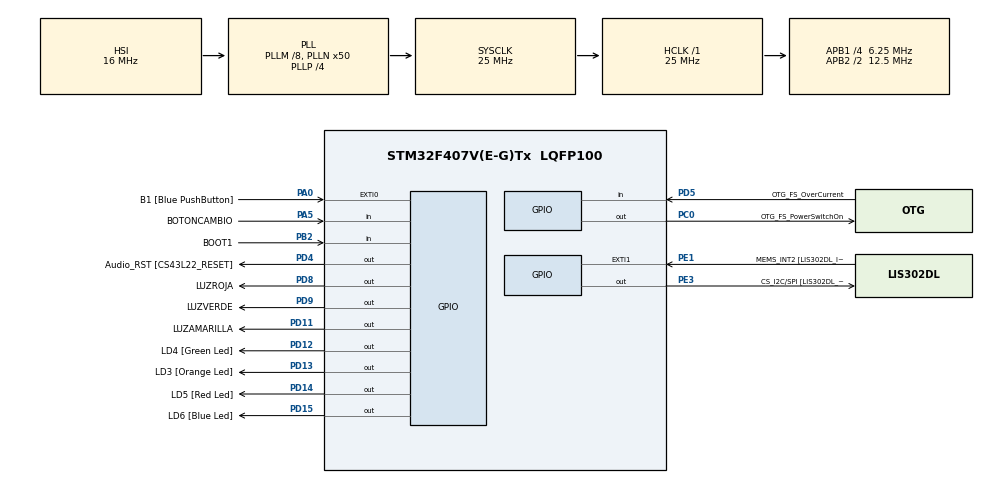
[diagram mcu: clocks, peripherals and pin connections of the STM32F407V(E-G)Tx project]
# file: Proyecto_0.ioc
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Mcu.Family=STM32F4
Mcu.Name=STM32F407V(E-G)Tx
Mcu.Package=LQFP100
NVIC.PriorityGroup=NVIC_PRIORITYGROUP_0
PA0-WKUP.GPIO_Label=B1 [Blue PushButton]
PA0-WKUP.Signal=GPXTI0
PA10.GPIO_Label=OTG_FS_ID
PA10.GPIO_Mode=GPIO_MODE_AF_PP
PA10.GPIO_PuPd=GPIO_NOPULL
PA10.GPIO_Speed=GPIO_SPEED_FREQ_LOW
PA10.Signal=USB_OTG_FS_ID
PA11.GPIO_Label=OTG_FS_DM
PA11.GPIO_Mode=GPIO_MODE_AF_PP
PA11.GPIO_PuPd=GPIO_NOPULL
PA11.GPIO_Speed=GPIO_SPEED_FREQ_LOW
PA11.Signal=USB_OTG_FS_DM
PA12.GPIO_Label=OTG_FS_DP
PA12.GPIO_Mode=GPIO_MODE_AF_PP
PA12.GPIO_PuPd=GPIO_NOPULL
PA12.GPIO_Speed=GPIO_SPEED_FREQ_LOW
PA12.Signal=USB_OTG_FS_DP
PA13.GPIO_Label=SWDIO
PA13.Signal=SYS_JTMS-SWDIO
PA14.GPIO_Label=SWCLK
PA14.Signal=SYS_JTCK-SWCLK
PA4.GPIO_Label=I2S3_WS [CS43L22_LRCK]
PA4.GPIO_Mode=GPIO_MODE_AF_PP
PA4.GPIO_PuPd=GPIO_NOPULL
PA4.GPIO_Speed=GPIO_SPEED_FREQ_LOW
PA4.Signal=I2S3_WS
PA5.GPIO_Label=BOTONCAMBIO
PA5.Signal=GPIO_Input
PA6.GPIO_Label=SPI1_MISO [LIS302DL_SDO]
PA6.GPIO_Mode=GPIO_MODE_AF_PP
PA6.GPIO_PuPd=GPIO_NOPULL
PA6.GPIO_Speed=GPIO_SPEED_FREQ_LOW
PA6.Signal=SPI1_MISO
PA7.GPIO_Label=SPI1_MOSI [LIS302DL_SDA/SDI/SDO]
PA7.GPIO_Mode=GPIO_MODE_AF_PP
PA7.GPIO_PuPd=GPIO_NOPULL
PA7.GPIO_Speed=GPIO_SPEED_FREQ_LOW
PA7.Signal=SPI1_MOSI
PA9.GPIO_Label=VBUS_FS
PA9.GPIO_Mode=GPIO_MODE_INPUT
PA9.GPIO_PuPd=GPIO_NOPULL
PA9.Signal=USB_OTG_FS_VBUS
PB10.GPIO_Label=CLK_IN [MP45DT02_CLK]
PB10.GPIO_Mode=GPIO_MODE_AF_PP
PB10.GPIO_PuPd=GPIO_NOPULL
PB10.GPIO_Speed=GPIO_SPEED_FREQ_LOW
PB10.Signal=I2S2_CK
PB2.GPIO_Label=BOOT1
PB2.GPIO_Mode=GPIO_MODE_INPUT
PB2.GPIO_PuPd=GPIO_NOPULL
PB2.Signal=GPIO_Input
PB3.GPIO_Label=SWO
PB3.Signal=SYS_JTDO-SWO
PB6.GPIO_Label=Audio_SCL [CS43L22_SCL]
PB6.GPIO_Mode=GPIO_MODE_AF_OD
PB6.GPIO_PuPd=GPIO_NOPULL
PB6.GPIO_Speed=GPIO_SPEED_FREQ_LOW
PB6.Signal=I2C1_SCL
PB9.GPIO_Label=Audio_SDA [CS43L22_SDA]
PB9.GPIO_Mode=GPIO_MODE_AF_OD
PB9.GPIO_PuPd=GPIO_NOPULL
PB9.GPIO_Speed=GPIO_SPEED_FREQ_LOW
PB9.Signal=I2C1_SDA
PC0.GPIO_Label=OTG_FS_PowerSwitchOn
PC0.GPIO_PuPd=GPIO_NOPULL
PC0.GPIO_Speed=GPIO_SPEED_FREQ_LOW
PC0.PinState=GPIO_PIN_SET
PC0.Signal=GPIO_Output
PC10.GPIO_Label=I2S3_SCK [CS43L22_SCLK]
PC10.GPIO_Mode=GPIO_MODE_AF_PP
PC10.GPIO_PuPd=GPIO_NOPULL
PC10.GPIO_Speed=GPIO_SPEED_FREQ_LOW
PC10.Signal=I2S3_CK
PC12.GPIO_Label=I2S3_SD [CS43L22_SDIN]
PC12.GPIO_Mode=GPIO_MODE_AF_PP
PC12.GPIO_PuPd=GPIO_NOPULL
PC12.GPIO_Speed=GPIO_SPEED_FREQ_LOW
PC12.Signal=I2S3_SD
PC14-OSC32_IN.GPIO_Label=PC14-OSC32_IN
PC14-OSC32_IN.Signal=RCC_OSC32_IN
PC15-OSC32_OUT.GPIO_Label=PC15-OSC32_OUT
PC15-OSC32_OUT.Signal=RCC_OSC32_OUT
PC3.GPIO_Label=PDM_OUT [MP45DT02_DOUT]
PC3.GPIO_Mode=GPIO_MODE_AF_PP
PC3.GPIO_PuPd=GPIO_NOPULL
PC3.GPIO_Speed=GPIO_SPEED_FREQ_LOW
PC3.Signal=I2S2_SD
PC7.GPIO_Label=I2S3_MCK [CS43L22_MCLK]
PC7.GPIO_Mode=GPIO_MODE_AF_PP
PC7.GPIO_PuPd=GPIO_NOPULL
PC7.GPIO_Speed=GPIO_SPEED_FREQ_LOW
PC7.Signal=I2S3_MCK
PD11.GPIO_Label=LUZAMARILLA
PD11.Signal=GPIO_Output
PD12.GPIO_Label=LD4 [Green Led]
PD12.GPIO_PuPd=GPIO_NOPULL
PD12.GPIO_Speed=GPIO_SPEED_FREQ_LOW
PD12.Signal=GPIO_Output
PD13.GPIO_Label=LD3 [Orange Led]
PD13.GPIO_PuPd=GPIO_NOPULL
PD13.GPIO_Speed=GPIO_SPEED_FREQ_LOW
PD13.Signal=GPIO_Output
PD14.GPIO_Label=LD5 [Red Led]
PD14.GPIO_PuPd=GPIO_NOPULL
PD14.GPIO_Speed=GPIO_SPEED_FREQ_LOW
PD14.Signal=GPIO_Output
PD15.GPIO_Label=LD6 [Blue Led]
PD15.GPIO_PuPd=GPIO_NOPULL
PD15.GPIO_Speed=GPIO_SPEED_FREQ_LOW
PD15.Signal=GPIO_Output
PD4.GPIO_Label=Audio_RST [CS43L22_RESET]
PD4.GPIO_PuPd=GPIO_NOPULL
PD4.GPIO_Speed=GPIO_SPEED_FREQ_LOW
PD4.Signal=GPIO_Output
PD5.GPIO_Label=OTG_FS_OverCurrent
PD5.GPIO_Mode=GPIO_MODE_INPUT
PD5.GPIO_PuPd=GPIO_NOPULL
PD5.Signal=GPIO_Input
PD8.GPIO_Label=LUZROJA
PD8.Signal=GPIO_Output
PD9.GPIO_Label=LUZVERDE
PD9.Signal=GPIO_Output
PE1.GPIO_Label=MEMS_INT2 [LIS302DL_INT2]
PE1.GPIO_ModeDefaultEXTI=GPIO_MODE_EVT_RISING
PE1.GPIO_PuPd=GPIO_NOPULL
PE1.Signal=GPXTI1
PE3.GPIO_Label=CS_I2C/SPI [LIS302DL_CS_I2C/SPI]
PE3.GPIO_PuPd=GPIO_NOPULL
PE3.GPIO_Speed=GPIO_SPEED_FREQ_LOW
PE3.Signal=GPIO_Output
PH0-OSC_IN.GPIO_Label=PH0-OSC_IN
PH0-OSC_IN.Signal=RCC_OSC_IN
PH1-OSC_OUT.GPIO_Label=PH1-OSC_OUT
PH1-OSC_OUT.Signal=RCC_OSC_OUT
ProjectManager.HeapSize=0x200
ProjectManager.StackSize=0x400
ProjectManager.TargetToolchain=STM32CubeIDE
RCC.48MHZClocksFreq_Value=14285714.285714285
RCC.AHBFreq_Value=25000000
RCC.APB1CLKDivider=RCC_HCLK_DIV4
RCC.APB1Freq_Value=6250000
RCC.APB1TimFreq_Value=12500000
RCC.APB2CLKDivider=RCC_HCLK_DIV2
RCC.APB2Freq_Value=12500000
RCC.APB2TimFreq_Value=25000000
RCC.CortexFreq_Value=25000000
RCC.HCLKFreq_Value=25000000
RCC.HSE_VALUE=8000000
RCC.HSI_VALUE=16000000
RCC.LSE_VALUE=32768
RCC.PLLM=8
RCC.PLLN=50
RCC.PLLP=RCC_PLLP_DIV4
RCC.PLLQ=7
RCC.SYSCLKFreq_VALUE=25000000
RCC.SYSCLKSource=RCC_SYSCLKSOURCE_PLLCLK
RCC.VCOOutputFreq_Value=100000000
board=STM32F407G-DISC1

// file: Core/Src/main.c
/* USER CODE BEGIN Header */
/**
  ******************************************************************************
  * @file           : main.c
  * @brief          : Main program body
  ******************************************************************************
  * @attention
  *
  * Copyright (c) 2026 STMicroelectronics.
  * All rights reserved.
  *
  * This software is licensed under terms that can be found in the LICENSE file
  * in the root directory of this software component.
  * If no LICENSE file comes with this software, it is provided AS-IS.
  *
  ******************************************************************************
  */
/* USER CODE END Header */
#include "main.h"

/* USER CODE BEGIN Includes */
#include <stdbool.h> // variable booleanas

/* USER CODE END Includes */

/* USER CODE BEGIN PD */
#define TESPERA 2000 // periodo de espera en ms entre las transiciones
#define TREBOTES 20 // intervalo de rebotes en ms
#define TSONDEO 200 // retardo de sondeo en ms
#define LUZROJA_Pin GPIO_PIN_8
#define LUZROJA_GPIO_Port GPIOD
#define LUZVERDE_Pin GPIO_PIN_9
#define LUZVERDE_GPIO_Port GPIOD
#define LUZAMARILLA_Pin GPIO_PIN_11
#define LUZAMARILLA_GPIO_Port GPIOD
#define LUCES_GPIO_Port GPIOD
#define BOTONCAMBIO_Pin GPIO_PIN_5
#define BOTONCAMBIO_GPIO_Port GPIOA

/* USER CODE END PD */

void SystemClock_Config(void);
static void MX_GPIO_Init(void);
/* USER CODE BEGIN PFP */
void CambiarRojoVerde(void); // Transición de rojo a verde
void CambiarVerdeRojo(void); // Transición de verde a rojo
bool VerificarPedido(void); // Determinar si el botón fue pulsado
/* USER CODE END PFP */

int main(void)
{

  /* MCU Configuration--------------------------------------------------------*/

  /* Reset of all peripherals, Initializes the Flash interface and the Systick. */
  HAL_Init();

  /* Configure the system clock */
  SystemClock_Config();

  /* Initialize all configured peripherals */
  MX_GPIO_Init();
  /* USER CODE BEGIN 2 */
  // Nos aseguramos de apagar las luces amarilla y verde, y de encender la roja
  HAL_GPIO_WritePin(LUCES_GPIO_Port, LUZAMARILLA_Pin, GPIO_PIN_RESET);
  HAL_GPIO_WritePin(LUCES_GPIO_Port, LUZVERDE_Pin, GPIO_PIN_RESET);
  HAL_GPIO_WritePin(LUCES_GPIO_Port, LUZROJA_Pin, GPIO_PIN_SET);

  /* USER CODE END 2 */

  /* Infinite loop */
  while (1)
  {
	  // Esperamos por una solicitud de cambio de estado.
	  while(!VerificarPedido()) // Comprobamos si hay una solicitud haciendo una lectura filtrada del botón
	  HAL_Delay(TSONDEO); // Si no la hay, esperamos por un tiempo y volvemos a comprobar
	  // Al recibir la solicitud, cambiamos de estado de ROJO a VERDE
	  CambiarRojoVerde();
	  // Esperamos por una solicitud de cambio de estado.
	  while(!VerificarPedido()) // Comprobamos si hay una solicitud haciendo una lectura filtrada del botón
	  HAL_Delay(TSONDEO); // Si no la hay, esperamos por un tiempo y volvemos comprobar
	  // Al recibir la solicitud, cambiamos de estado de VERDE a ROJO
	  CambiarVerdeRojo();
	 }

  }

void SystemClock_Config(void)
{
  RCC_OscInitTypeDef RCC_OscInitStruct = {0};
  RCC_ClkInitTypeDef RCC_ClkInitStruct = {0};

  /** Configure the main internal regulator output voltage
  */
  __HAL_RCC_PWR_CLK_ENABLE();
  __HAL_PWR_VOLTAGESCALING_CONFIG(PWR_REGULATOR_VOLTAGE_SCALE1);

  /** Initializes the RCC Oscillators according to the specified parameters
  * in the RCC_OscInitTypeDef structure.
  */
  RCC_OscInitStruct.OscillatorType = RCC_OSCILLATORTYPE_HSI;
  RCC_OscInitStruct.HSIState = RCC_HSI_ON;
  RCC_OscInitStruct.HSICalibrationValue = RCC_HSICALIBRATION_DEFAULT;
  RCC_OscInitStruct.PLL.PLLState = RCC_PLL_ON;
  RCC_OscInitStruct.PLL.PLLSource = RCC_PLLSOURCE_HSI;
  RCC_OscInitStruct.PLL.PLLM = 8;
  RCC_OscInitStruct.PLL.PLLN = 50;
  RCC_OscInitStruct.PLL.PLLP = RCC_PLLP_DIV4;
  RCC_OscInitStruct.PLL.PLLQ = 7;
  if (HAL_RCC_OscConfig(&RCC_OscInitStruct) != HAL_OK)
  {
    Error_Handler();
  }

  /** Initializes the CPU, AHB and APB buses clocks
  */
  RCC_ClkInitStruct.ClockType = RCC_CLOCKTYPE_HCLK|RCC_CLOCKTYPE_SYSCLK
                              |RCC_CLOCKTYPE_PCLK1|RCC_CLOCKTYPE_PCLK2;
  RCC_ClkInitStruct.SYSCLKSource = RCC_SYSCLKSOURCE_PLLCLK;
  RCC_ClkInitStruct.AHBCLKDivider = RCC_SYSCLK_DIV1;
  RCC_ClkInitStruct.APB1CLKDivider = RCC_HCLK_DIV4;
  RCC_ClkInitStruct.APB2CLKDivider = RCC_HCLK_DIV2;

  if (HAL_RCC_ClockConfig(&RCC_ClkInitStruct, FLASH_LATENCY_0) != HAL_OK)
  {
    Error_Handler();
  }
}

static void MX_GPIO_Init(void)
{
  GPIO_InitTypeDef GPIO_InitStruct = {0};

  /* GPIO Ports Clock Enable */
  __HAL_RCC_GPIOE_CLK_ENABLE();
  __HAL_RCC_GPIOC_CLK_ENABLE();
  __HAL_RCC_GPIOH_CLK_ENABLE();
  __HAL_RCC_GPIOA_CLK_ENABLE();
  __HAL_RCC_GPIOB_CLK_ENABLE();
  __HAL_RCC_GPIOD_CLK_ENABLE();

  /*Configure GPIO pin Output Level */
  HAL_GPIO_WritePin(CS_I2C_SPI_GPIO_Port, CS_I2C_SPI_Pin, GPIO_PIN_RESET);

  /*Configure GPIO pin Output Level */
  HAL_GPIO_WritePin(OTG_FS_PowerSwitchOn_GPIO_Port, OTG_FS_PowerSwitchOn_Pin, GPIO_PIN_SET);

  /*Configure GPIO pin Output Level */
  HAL_GPIO_WritePin(GPIOD, LUZROJA_Pin|LUZVERDE_Pin|LUZAMARILLA_Pin|LD4_Pin
                          |LD3_Pin|LD5_Pin|LD6_Pin|Audio_RST_Pin, GPIO_PIN_RESET);

  /*Configure GPIO pin : CS_I2C_SPI_Pin */
  GPIO_InitStruct.Pin = CS_I2C_SPI_Pin;
  GPIO_InitStruct.Mode = GPIO_MODE_OUTPUT_PP;
  GPIO_InitStruct.Pull = GPIO_NOPULL;
  GPIO_InitStruct.Speed = GPIO_SPEED_FREQ_LOW;
  HAL_GPIO_Init(CS_I2C_SPI_GPIO_Port, &GPIO_InitStruct);

  /*Configure GPIO pin : OTG_FS_PowerSwitchOn_Pin */
  GPIO_InitStruct.Pin = OTG_FS_PowerSwitchOn_Pin;
  GPIO_InitStruct.Mode = GPIO_MODE_OUTPUT_PP;
  GPIO_InitStruct.Pull = GPIO_NOPULL;
  GPIO_InitStruct.Speed = GPIO_SPEED_FREQ_LOW;
  HAL_GPIO_Init(OTG_FS_PowerSwitchOn_GPIO_Port, &GPIO_InitStruct);

  /*Configure GPIO pin : PDM_OUT_Pin */
  GPIO_InitStruct.Pin = PDM_OUT_Pin;
  GPIO_InitStruct.Mode = GPIO_MODE_AF_PP;
  GPIO_InitStruct.Pull = GPIO_NOPULL;
  GPIO_InitStruct.Speed = GPIO_SPEED_FREQ_LOW;
  GPIO_InitStruct.Alternate = GPIO_AF5_SPI2;
  HAL_GPIO_Init(PDM_OUT_GPIO_Port, &GPIO_InitStruct);

  /*Configure GPIO pin : B1_Pin */
  GPIO_InitStruct.Pin = B1_Pin;
  GPIO_InitStruct.Mode = GPIO_MODE_IT_RISING;
  GPIO_InitStruct.Pull = GPIO_NOPULL;
  HAL_GPIO_Init(B1_GPIO_Port, &GPIO_InitStruct);

  /*Configure GPIO pin : I2S3_WS_Pin */
  GPIO_InitStruct.Pin = I2S3_WS_Pin;
  GPIO_InitStruct.Mode = GPIO_MODE_AF_PP;
  GPIO_InitStruct.Pull = GPIO_NOPULL;
  GPIO_InitStruct.Speed = GPIO_SPEED_FREQ_LOW;
  GPIO_InitStruct.Alternate = GPIO_AF6_SPI3;
  HAL_GPIO_Init(I2S3_WS_GPIO_Port, &GPIO_InitStruct);

  /*Configure GPIO pin : BOTONCAMBIO_Pin */
  GPIO_InitStruct.Pin = BOTONCAMBIO_Pin;
  GPIO_InitStruct.Mode = GPIO_MODE_INPUT;
  GPIO_InitStruct.Pull = GPIO_NOPULL;
  HAL_GPIO_Init(BOTONCAMBIO_GPIO_Port, &GPIO_InitStruct);

  /*Configure GPIO pins : SPI1_MISO_Pin SPI1_MOSI_Pin */
  GPIO_InitStruct.Pin = SPI1_MISO_Pin|SPI1_MOSI_Pin;
  GPIO_InitStruct.Mode = GPIO_MODE_AF_PP;
  GPIO_InitStruct.Pull = GPIO_NOPULL;
  GPIO_InitStruct.Speed = GPIO_SPEED_FREQ_LOW;
  GPIO_InitStruct.Alternate = GPIO_AF5_SPI1;
  HAL_GPIO_Init(GPIOA, &GPIO_InitStruct);

  /*Configure GPIO pin : BOOT1_Pin */
  GPIO_InitStruct.Pin = BOOT1_Pin;
  GPIO_InitStruct.Mode = GPIO_MODE_INPUT;
  GPIO_InitStruct.Pull = GPIO_NOPULL;
  HAL_GPIO_Init(BOOT1_GPIO_Port, &GPIO_InitStruct);

  /*Configure GPIO pin : CLK_IN_Pin */
  GPIO_InitStruct.Pin = CLK_IN_Pin;
  GPIO_InitStruct.Mode = GPIO_MODE_AF_PP;
  GPIO_InitStruct.Pull = GPIO_NOPULL;
  GPIO_InitStruct.Speed = GPIO_SPEED_FREQ_LOW;
  GPIO_InitStruct.Alternate = GPIO_AF5_SPI2;
  HAL_GPIO_Init(CLK_IN_GPIO_Port, &GPIO_InitStruct);

  /*Configure GPIO pins : LUZROJA_Pin LUZVERDE_Pin LUZAMARILLA_Pin LD4_Pin
                           LD3_Pin LD5_Pin LD6_Pin Audio_RST_Pin */
  GPIO_InitStruct.Pin = LUZROJA_Pin|LUZVERDE_Pin|LUZAMARILLA_Pin|LD4_Pin
                          |LD3_Pin|LD5_Pin|LD6_Pin|Audio_RST_Pin;
  GPIO_InitStruct.Mode = GPIO_MODE_OUTPUT_PP;
  GPIO_InitStruct.Pull = GPIO_NOPULL;
  GPIO_InitStruct.Speed = GPIO_SPEED_FREQ_LOW;
  HAL_GPIO_Init(GPIOD, &GPIO_InitStruct);

  /*Configure GPIO pins : I2S3_MCK_Pin I2S3_SCK_Pin I2S3_SD_Pin */
  GPIO_InitStruct.Pin = I2S3_MCK_Pin|I2S3_SCK_Pin|I2S3_SD_Pin;
  GPIO_InitStruct.Mode = GPIO_MODE_AF_PP;
  GPIO_InitStruct.Pull = GPIO_NOPULL;
  GPIO_InitStruct.Speed = GPIO_SPEED_FREQ_LOW;
  GPIO_InitStruct.Alternate = GPIO_AF6_SPI3;
  HAL_GPIO_Init(GPIOC, &GPIO_InitStruct);

  /*Configure GPIO pin : VBUS_FS_Pin */
  GPIO_InitStruct.Pin = VBUS_FS_Pin;
  GPIO_InitStruct.Mode = GPIO_MODE_INPUT;
  GPIO_InitStruct.Pull = GPIO_NOPULL;
  HAL_GPIO_Init(VBUS_FS_GPIO_Port, &GPIO_InitStruct);

  /*Configure GPIO pins : OTG_FS_ID_Pin OTG_FS_DM_Pin OTG_FS_DP_Pin */
  GPIO_InitStruct.Pin = OTG_FS_ID_Pin|OTG_FS_DM_Pin|OTG_FS_DP_Pin;
  GPIO_InitStruct.Mode = GPIO_MODE_AF_PP;
  GPIO_InitStruct.Pull = GPIO_NOPULL;
  GPIO_InitStruct.Speed = GPIO_SPEED_FREQ_LOW;
  GPIO_InitStruct.Alternate = GPIO_AF10_OTG_FS;
  HAL_GPIO_Init(GPIOA, &GPIO_InitStruct);

  /*Configure GPIO pin : OTG_FS_OverCurrent_Pin */
  GPIO_InitStruct.Pin = OTG_FS_OverCurrent_Pin;
  GPIO_InitStruct.Mode = GPIO_MODE_INPUT;
  GPIO_InitStruct.Pull = GPIO_NOPULL;
  HAL_GPIO_Init(OTG_FS_OverCurrent_GPIO_Port, &GPIO_InitStruct);

  /*Configure GPIO pins : Audio_SCL_Pin Audio_SDA_Pin */
  GPIO_InitStruct.Pin = Audio_SCL_Pin|Audio_SDA_Pin;
  GPIO_InitStruct.Mode = GPIO_MODE_AF_OD;
  GPIO_InitStruct.Pull = GPIO_NOPULL;
  GPIO_InitStruct.Speed = GPIO_SPEED_FREQ_LOW;
  GPIO_InitStruct.Alternate = GPIO_AF4_I2C1;
  HAL_GPIO_Init(GPIOB, &GPIO_InitStruct);

  /*Configure GPIO pin : MEMS_INT2_Pin */
  GPIO_InitStruct.Pin = MEMS_INT2_Pin;
  GPIO_InitStruct.Mode = GPIO_MODE_EVT_RISING;
  GPIO_InitStruct.Pull = GPIO_NOPULL;
  HAL_GPIO_Init(MEMS_INT2_GPIO_Port, &GPIO_InitStruct);

}

/* USER CODE BEGIN 4 */
void CambiarRojoVerde(void){ // Transición de rojo a verde
//La luz roja se encuentra encendia. Encendemos la amarilla.
HAL_GPIO_WritePin(LUCES_GPIO_Port, LUZAMARILLA_Pin, GPIO_PIN_SET);
// Esperamos un tiempo
HAL_Delay(TESPERA); // Retardo de TESPERA milisegundos
// Apagamos las luces roja y amarilla, y encendemos la verde
HAL_GPIO_WritePin(LUCES_GPIO_Port, LUZROJA_Pin, GPIO_PIN_RESET);
HAL_GPIO_WritePin(LUCES_GPIO_Port, LUZAMARILLA_Pin, GPIO_PIN_RESET);
HAL_GPIO_WritePin(LUCES_GPIO_Port, LUZVERDE_Pin, GPIO_PIN_SET);
}
void CambiarVerdeRojo(void){ // Transición de verde a rojo
// La luz verde se encuentra encendida. La apagamos, y encendemos la amarilla
HAL_GPIO_WritePin(LUCES_GPIO_Port, LUZVERDE_Pin, GPIO_PIN_RESET);
HAL_GPIO_WritePin(LUCES_GPIO_Port, LUZAMARILLA_Pin, GPIO_PIN_SET);
// Esperamos un tiempo
HAL_Delay(TESPERA); // Retardo de TESPERA milisegundos
// Apagamos la luz amarilla y encendemos la roja
HAL_GPIO_WritePin(LUCES_GPIO_Port, LUZAMARILLA_Pin, GPIO_PIN_RESET);
HAL_GPIO_WritePin(LUCES_GPIO_Port, LUZROJA_Pin, GPIO_PIN_SET);
}
// Determinar si el botón fue pulsado
bool VerificarPedido(void){
// Se crea e inicializa un registro de lectura válida del botón
static GPIO_PinState ultima_lectura_valida = GPIO_PIN_SET; //botón liberado
// Se crean variables para lecturas intermedias
GPIO_PinState lectura1, lectura2;
// Se crea una variable booleana para indicar si hay un pedido
bool pedido = false; // No hay pedido hasta que se pulsa el botón
// Se lee el estado del botón
lectura1 = HAL_GPIO_ReadPin(BOTONCAMBIO_GPIO_Port, BOTONCAMBIO_Pin);
// Si hubo un cambio
if (lectura1 != ultima_lectura_valida){
 // Se espera un tiempo para filtrar los rebotes
 HAL_Delay(TREBOTES); // Retardo de TREBOTES milisegundos
 // Se lee nuevamente el estado del botón
 lectura2 = HAL_GPIO_ReadPin(BOTONCAMBIO_GPIO_Port, BOTONCAMBIO_Pin);
 // Si ambas lecturas son iguales, se considera una lectura válida
 if(lectura2 == lectura1)
 ultima_lectura_valida = lectura2;
 // Si el botón pasó de liberado a pulsado (1-->0), hubo un pedido de cambio de estado
 if (ultima_lectura_valida == GPIO_PIN_RESET)
 pedido = true;
}
return pedido;
}
/* USER CODE END 4 */

void Error_Handler(void)
{
  __disable_irq();
  while (1)
  {
  }
}
